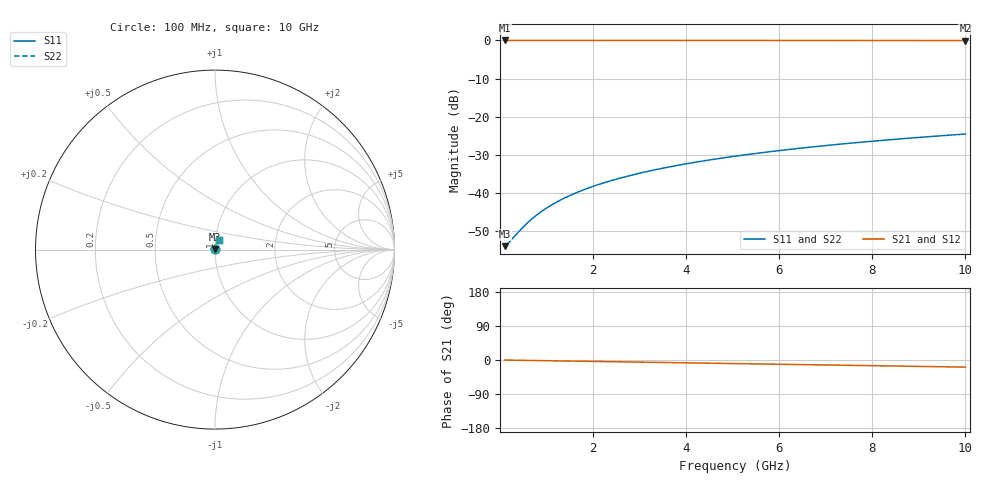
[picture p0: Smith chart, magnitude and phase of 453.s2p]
# Hz S RI R 50.00
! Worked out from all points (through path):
!   100 points, 100 MHz to 10 GHz, reference 50 ohm
!   highest |S21| = -0.02 dB at 100 MHz (marker M1); lowest = 0.0 dB at 10 GHz (marker M2)
!   group delay of S21, straight-line fit = 5.21 ps
!   lowest |S11| = -53.9 dB at 100 MHz (marker M3), VSWR 1.00, Z = 50.2 + j0.0599 ohm
!   |S11| at or under -10 dB: start of sweep to end of sweep
!   |S22| runs from -53.9 to -24.5 dB; largest |S21 - S12| = 0
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1e8  0.00192 0.000597  0.9981 -0.00326  0.9981 -0.00326  0.00192 0.000597
2e8  0.00194 0.00119  0.998 -0.00652  0.998 -0.00652  0.00194 0.00119
4e8  0.00198 0.00239  0.998 -0.013  0.998 -0.013  0.00198 0.00239
5e8  0.002 0.00298  0.9979 -0.0163  0.9979 -0.0163  0.002 0.00298
6e8  0.00203 0.00358  0.9978 -0.0196  0.9978 -0.0196  0.00203 0.00358
7e8  0.00206 0.00418  0.9978 -0.0228  0.9978 -0.0228  0.00206 0.00418
9e8  0.00212 0.00537  0.9976 -0.0293  0.9976 -0.0293  0.00212 0.00537
1.1e9  0.00221 0.00656  0.9973 -0.0358  0.9973 -0.0358  0.00221 0.00656
1.3e9  0.00231 0.00775  0.9971 -0.0424  0.9971 -0.0424  0.00231 0.00775
1.5e9  0.00242 0.00894  0.9967 -0.0489  0.9967 -0.0489  0.00242 0.00894
1.8e9  0.00262 0.0107  0.9962 -0.0586  0.9962 -0.0586  0.00262 0.0107
2.1e9  0.00285 0.0125  0.9955 -0.0684  0.9955 -0.0684  0.00285 0.0125
2.5e9  0.00322 0.0148  0.9945 -0.0814  0.9945 -0.0814  0.00322 0.0148
2.9e9  0.00364 0.0172  0.9933 -0.0944  0.9933 -0.0944  0.00364 0.0172
3.4e9  0.00426 0.0201  0.9915 -0.1106  0.9915 -0.1106  0.00426 0.0201
4.2e9  0.00544 0.0247  0.9882 -0.1365  0.9882 -0.1365  0.00544 0.0247
5.1e9  0.00706 0.0298  0.9835 -0.1656  0.9835 -0.1656  0.00706 0.0298
5.9e9  0.00876 0.0343  0.9787 -0.1912  0.9787 -0.1912  0.00876 0.0343
6.7e9  0.0107 0.0387  0.9731 -0.2168  0.9731 -0.2168  0.0107 0.0387
7.5e9  0.0128 0.0429  0.9669 -0.2422  0.9669 -0.2422  0.0128 0.0429
8.4e9  0.0155 0.0476  0.959 -0.2706  0.959 -0.2706  0.0155 0.0476
1e10  0.021 0.0554  0.943 -0.3205  0.943 -0.3205  0.021 0.0554
